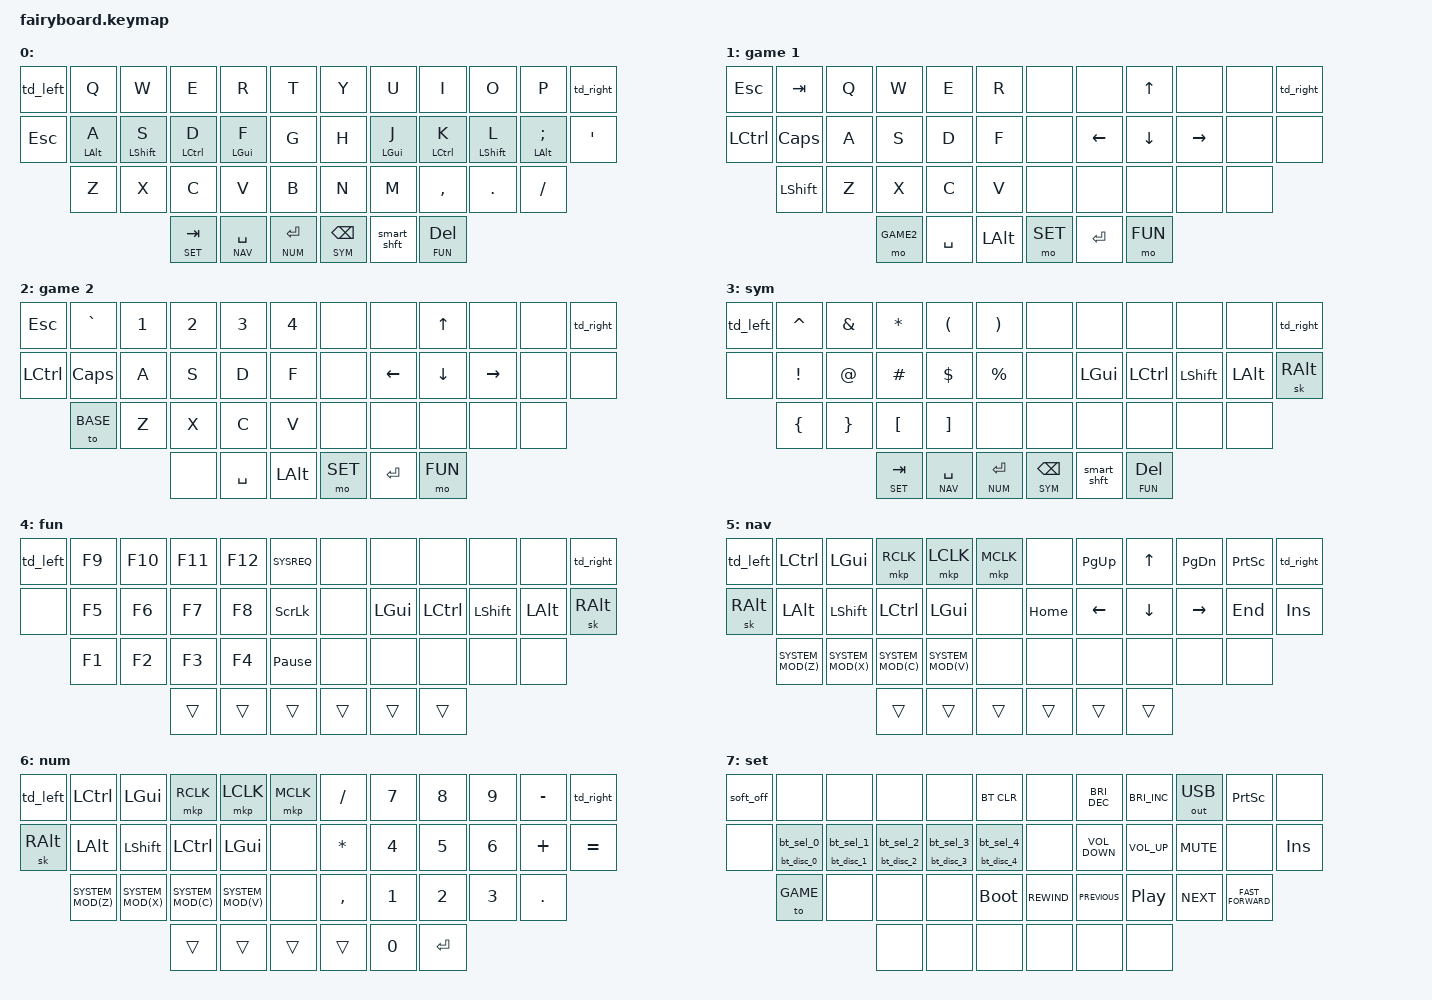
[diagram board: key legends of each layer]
// TODO: print screen, insert scroll lock and pause break move?
// TODO: zmk studio lock button
/*
 * Copyright (c) 2024 Steven Eisinger
 *
 * SPDX-License-Identifier: MIT
 */

// Required to be defined before the pointing dt-bindings import
#define ZMK_POINTING_DEFAULT_MOVE_VAL 1500
#define ZMK_POINTING_DEFAULT_SCRL_VAL 20

#include <behaviors/mouse_keys.dtsi>
#include <behaviors.dtsi>
#include <dt-bindings/zmk/bt.h>
#include <dt-bindings/zmk/keys.h>
#include <dt-bindings/zmk/pointing.h>
#include <dt-bindings/zmk/outputs.h>


//--------------------------------------------------------------------------------------------------
// Global defines

#define PHT_TAPPING_TERM_MS     280  // Positional hold tap tapping term (ms)
#define PHT_IDLE_MS             200  // Positional hold tap require idle time (ms)
#define LT_TAPPING_TERM_MS      200  // Layer tap tapping term (ms)
#define MOD_TOG_TAPPING_TERM_MS 200  // Mod tap tapping term (ms)
#define QUICK_TAP_MS            225  // Quick tap timing (ms)
#define SK_RELEASE_AFTER_MS     900  // Release sticky key after (ms)
#define COMBO_TERM_FAST_MS       25  // Fast combo term for horizontal combos (ms)
#define COMBO_TERM_SLOW_MS      100  // Slow combo term for vertical combos (ms)
#define COMBO_IDLE_FAST_MS       50  // Fast require prior idle time for horizontal combos (ms)
#define COMBO_IDLE_SLOW_MS      100  // Slow require prior idle time for vertical combos (ms)

#define NONE 0  // Null keypress


//--------------------------------------------------------------------------------------------------
// Layer definitions

#define BASE  0
#define GAME  1
#define GAME2 2
#define SYM   3
#define FUN   4
#define NAV   5
#define NUM   6
#define SET   7


//--------------------------------------------------------------------------------------------------
// Homerow mod (HRM) definitions

#define HRM_INDEX  LEFT_GUI
#define HRM_MIDDLE LEFT_CONTROL
#define HRM_RING   LEFT_SHIFT
#define HRM_PINKY  LEFT_ALT


//--------------------------------------------------------------------------------------------------
// Modifiers for the bottom row of the left side for easy 1-handed copy/cut/paste/undo
// If MAC_MODS is defined, then COMMAND will be used for these shortcuts instead of CONTROL

// #define MAC_MODS
#ifdef MAC_MODS
#define SYSTEM_MOD LG
#else
#define SYSTEM_MOD LC
#endif


//--------------------------------------------------------------------------------------------------
// Defaults reconfiguration

&lt {
    flavor = "balanced";
    tapping-term-ms = <LT_TAPPING_TERM_MS>;
    quick-tap-ms = <QUICK_TAP_MS>;
    hold-while-undecided;
};

&sk {
    release-after-ms = <SK_RELEASE_AFTER_MS>;
    quick-release;
};

&mmv {
    acceleration-exponent = <1>;
    time-to-max-speed-ms = <500>;
    delay-ms = <0>;
};

&msc {
    acceleration-exponent = <1>;
    time-to-max-speed-ms = <40>;
    delay-ms = <0>;
};


//--------------------------------------------------------------------------------------------------

/ {
    combos {
        compatible = "zmk,combos";

        // Vertical combos
        combo_n1 {
        bindings = <&kp N1>;
            key-positions = <1 13>;
            timeout-ms = <COMBO_TERM_SLOW_MS>;
            require-prior-idle-ms = <COMBO_IDLE_SLOW_MS>;
            layers = <BASE>;
        };

        combo_n2 {
            bindings = <&kp N2>;
            key-positions = <2 14>;
            timeout-ms = <COMBO_TERM_SLOW_MS>;
            require-prior-idle-ms = <COMBO_IDLE_SLOW_MS>;
            layers = <BASE>;
        };

        combo_n3 {
            bindings = <&kp N3>;
            key-positions = <3 15>;
            timeout-ms = <COMBO_TERM_SLOW_MS>;
            require-prior-idle-ms = <COMBO_IDLE_SLOW_MS>;
            layers = <BASE>;
        };

        combo_n4 {
            bindings = <&kp N4>;
            key-positions = <4 16>;
            timeout-ms = <COMBO_TERM_SLOW_MS>;
            require-prior-idle-ms = <COMBO_IDLE_SLOW_MS>;
            layers = <BASE>;
        };

        combo_n5 {
            bindings = <&kp N5>;
            key-positions = <5 17>;
            timeout-ms = <COMBO_TERM_SLOW_MS>;
            require-prior-idle-ms = <COMBO_IDLE_SLOW_MS>;
            layers = <BASE>;
        };

        combo_n6 {
            bindings = <&kp N6>;
            key-positions = <6 18>;
            timeout-ms = <COMBO_TERM_SLOW_MS>;
            require-prior-idle-ms = <COMBO_IDLE_SLOW_MS>;
            layers = <BASE>;
        };

        combo_n7 {
            bindings = <&kp N7>;
            key-positions = <7 19>;
            timeout-ms = <COMBO_TERM_SLOW_MS>;
            require-prior-idle-ms = <COMBO_IDLE_SLOW_MS>;
            layers = <BASE>;
        };

        combo_n8 {
            bindings = <&kp N8>;
            key-positions = <8 20>;
            timeout-ms = <COMBO_TERM_SLOW_MS>;
            require-prior-idle-ms = <COMBO_IDLE_SLOW_MS>;
            layers = <BASE>;
        };

        combo_n9 {
            bindings = <&kp N9>;
            key-positions = <9 21>;
            timeout-ms = <COMBO_TERM_SLOW_MS>;
            require-prior-idle-ms = <COMBO_IDLE_SLOW_MS>;
            layers = <BASE>;
        };

        combo_n0 {
            bindings = <&kp N0>;
            key-positions = <10 22>;
            timeout-ms = <COMBO_TERM_SLOW_MS>;
            require-prior-idle-ms = <COMBO_IDLE_SLOW_MS>;
            layers = <BASE>;
        };

        // Horizontal combos
        combo_plus {
            bindings = <&kp PLUS>;
            key-positions = <8 9>;
            timeout-ms = <COMBO_TERM_FAST_MS>;
            require-prior-idle-ms = <COMBO_IDLE_FAST_MS>;
            layers = <BASE>;
        };

        combo_minus {
            bindings = <&kp MINUS>;
            key-positions = <3 4>;
            timeout-ms = <COMBO_TERM_FAST_MS>;
            require-prior-idle-ms = <COMBO_IDLE_FAST_MS>;
            layers = <BASE>;
        };

        combo_underscore {
            bindings = <&kp UNDERSCORE>;
            key-positions = <2 3>;
            timeout-ms = <COMBO_TERM_FAST_MS>;
            require-prior-idle-ms = <COMBO_IDLE_FAST_MS>;
            layers = <BASE>;
        };

        combo_equal {
            bindings = <&kp EQUAL>;
            key-positions = <7 8>;
            timeout-ms = <COMBO_TERM_FAST_MS>;
            require-prior-idle-ms = <COMBO_IDLE_FAST_MS>;
            layers = <BASE>;
        };

        combo_tilde {
            bindings = <&kp TILDE>;
            key-positions = <25 26>;
            timeout-ms = <COMBO_TERM_FAST_MS>;
            require-prior-idle-ms = <COMBO_IDLE_FAST_MS>;
            layers = <BASE>;
        };

        combo_grave {
            bindings = <&kp GRAVE>;
            key-positions = <26 27>;
            timeout-ms = <COMBO_TERM_FAST_MS>;
            require-prior-idle-ms = <COMBO_IDLE_FAST_MS>;
            layers = <BASE>;
        };

        combo_backslash {
            bindings = <&kp BACKSLASH>;
            key-positions = <30 31>;
            timeout-ms = <COMBO_TERM_FAST_MS>;
            require-prior-idle-ms = <COMBO_IDLE_FAST_MS>;
            layers = <BASE>;
        };

        combo_pipe {
            bindings = <&kp PIPE>;
            key-positions = <31 32>;
            timeout-ms = <COMBO_TERM_FAST_MS>;
            require-prior-idle-ms = <COMBO_IDLE_FAST_MS>;
            layers = <BASE>;
        };
    };


//--------------------------------------------------------------------------------------------------

    macros {
        bt_sel_0: bt_sel_0 {
            compatible = "zmk,behavior-macro";
            #binding-cells = <0>;
            bindings = <&out OUT_BLE>, <&bt BT_SEL 0>;
        };

        bt_disc_0: bt_disc_0 {
            compatible = "zmk,behavior-macro";
            #binding-cells = <0>;
            bindings = <&bt BT_DISC 0>;
        };

        bt_sel_1: bt_sel_1 {
            compatible = "zmk,behavior-macro";
            #binding-cells = <0>;
            bindings = <&out OUT_BLE>, <&bt BT_SEL 1>;
        };

        bt_disc_1: bt_disc_1 {
            compatible = "zmk,behavior-macro";
            #binding-cells = <0>;
            bindings = <&bt BT_DISC 1>;
        };

        bt_sel_2: bt_sel_2 {
            compatible = "zmk,behavior-macro";
            #binding-cells = <0>;
            bindings = <&out OUT_BLE>, <&bt BT_SEL 2>;
        };

        bt_disc_2: bt_disc_2 {
            compatible = "zmk,behavior-macro";
            #binding-cells = <0>;
            bindings = <&bt BT_DISC 2>;
        };

        bt_sel_3: bt_sel_3 {
            compatible = "zmk,behavior-macro";
            #binding-cells = <0>;
            bindings = <&out OUT_BLE>, <&bt BT_SEL 3>;
        };

        bt_disc_3: bt_disc_3 {
            compatible = "zmk,behavior-macro";
            #binding-cells = <0>;
            bindings = <&bt BT_DISC 3>;
        };

        bt_sel_4: bt_sel_4 {
            compatible = "zmk,behavior-macro";
            #binding-cells = <0>;
            bindings = <&out OUT_BLE>, <&bt BT_SEL 4>;
        };

        bt_disc_4: bt_disc_4 {
            compatible = "zmk,behavior-macro";
            #binding-cells = <0>;
            bindings = <&bt BT_DISC 4>;
        };
    };


//--------------------------------------------------------------------------------------------------

    behaviors {
        pht_left: pht_left {  // Positional hold tap left
            compatible = "zmk,behavior-hold-tap";
            #binding-cells = <2>;
            bindings = <&kp>, <&kp>;
            flavor = "balanced";
            tapping-term-ms = <PHT_TAPPING_TERM_MS>;
            quick-tap-ms = <QUICK_TAP_MS>;
            require-prior-idle-ms = <PHT_IDLE_MS>;
            hold-trigger-key-positions = <6 7 8 9 10 11 18 19 20 21 22 23 29 30 31 32 33 34 35 36 37 38 39>;
            hold-trigger-on-release;
        };

        pht_right: pht_right {  // Positional hold tap right
            compatible = "zmk,behavior-hold-tap";
            #binding-cells = <2>;
            bindings = <&kp>, <&kp>;
            flavor = "balanced";
            tapping-term-ms = <PHT_TAPPING_TERM_MS>;
            quick-tap-ms = <QUICK_TAP_MS>;
            require-prior-idle-ms = <PHT_IDLE_MS>;
            hold-trigger-key-positions = <0 1 2 3 4 5 12 13 14 15 16 17 24 25 26 27 28 34 35 36 37 38 39>;
            hold-trigger-on-release;
        };

        to_hold: to_hold {  // Layer on hold
            compatible = "zmk,behavior-hold-tap";
            #binding-cells = <2>;
            bindings = <&to>, <&to>;
            tapping-term-ms = <LT_TAPPING_TERM_MS>;
        };

        smart_shft: smart_shift {  // Sticky shift on tap, caps lock on double tap, shift on hold
            compatible = "zmk,behavior-mod-morph";
            #binding-cells = <0>;
            bindings = <&sk LEFT_SHIFT>, <&kp CAPSLOCK>;
            mods = <(MOD_LSFT)>;
        };

        td_right: tap_dance_right_side {  // Tap dance to allow for using right side layers with one hand
            compatible = "zmk,behavior-tap-dance";
            #binding-cells = <0>;
            tapping-term-ms = <LT_TAPPING_TERM_MS>;
            bindings = <&to BASE>, <&to NAV>, <&to NUM>;
        };

        td_left: tap_dance_left_side {  // Tap dance to allow for using right side layers with one hand
            compatible = "zmk,behavior-tap-dance";
            #binding-cells = <0>;
            tapping-term-ms = <LT_TAPPING_TERM_MS>;
            bindings = <&to BASE>, <&to SYM>, <&to FUN>;
        };

        bt_hold_0: bt_hold_0 {  // Disconnect on hold, connect on tap
            compatible = "zmk,behavior-hold-tap";
            #binding-cells = <2>;
            bindings = <&bt_disc_0>, <&bt_sel_0>;
            tapping-term-ms = <LT_TAPPING_TERM_MS>;
        };

        bt_hold_1: bt_hold_1 {
            compatible = "zmk,behavior-hold-tap";
            #binding-cells = <2>;
            bindings = <&bt_disc_1>, <&bt_sel_1>;
            tapping-term-ms = <LT_TAPPING_TERM_MS>;
        };

        bt_hold_2: bt_hold_2 {
            compatible = "zmk,behavior-hold-tap";
            #binding-cells = <2>;
            bindings = <&bt_disc_2>, <&bt_sel_2>;
            tapping-term-ms = <LT_TAPPING_TERM_MS>;
        };

        bt_hold_3: bt_hold_3 {
            compatible = "zmk,behavior-hold-tap";
            #binding-cells = <2>;
            bindings = <&bt_disc_3>, <&bt_sel_3>;
            tapping-term-ms = <LT_TAPPING_TERM_MS>;
        };

        bt_hold_4: bt_hold_4 {
            compatible = "zmk,behavior-hold-tap";
            #binding-cells = <2>;
            bindings = <&bt_disc_4>, <&bt_sel_4>;
            tapping-term-ms = <LT_TAPPING_TERM_MS>;
        };
    };


//--------------------------------------------------------------------------------------------------

    keymap {
        compatible = "zmk,keymap";

        base_layer {
            display-name = " ";
            bindings = <
&td_left    &kp Q                  &kp W                 &kp E                   &kp R                  &kp T          &kp Y              &kp U                   &kp I                    &kp O                  &kp P                      &td_right
&kp ESCAPE  &pht_left HRM_PINKY A  &pht_left HRM_RING S  &pht_left HRM_MIDDLE D  &pht_left HRM_INDEX F  &kp G          &kp H              &pht_right HRM_INDEX J  &pht_right HRM_MIDDLE K  &pht_right HRM_RING L  &pht_right HRM_PINKY SEMI  &kp SINGLE_QUOTE
            &kp Z                  &kp X                 &kp C                   &kp V                  &kp B          &kp N              &kp M                   &kp COMMA                &kp DOT                &kp SLASH
                                                         &lt SET TAB             &lt NAV SPACE          &lt NUM ENTER  &lt SYM BACKSPACE  &smart_shft             &lt FUN DELETE
            >;
        };

        game_layer {
            display-name = "game 1";
            bindings = <
&kp ESCAPE        &kp TAB         &kp Q   &kp W      &kp E      &kp R         &none    &none      &kp UP    &none      &none  &td_right
&kp LEFT_CONTROL  &kp CAPSLOCK    &kp A   &kp S      &kp D      &kp F         &none    &kp LEFT   &kp DOWN  &kp RIGHT  &none  &none
                  &kp LEFT_SHIFT  &kp Z   &kp X      &kp C      &kp V         &none    &none      &none     &none      &none
                                          &mo GAME2  &kp SPACE  &kp LEFT_ALT  &mo SET  &kp ENTER  &mo FUN
            >;
        };

        game2_layer {
            display-name = "game 2";
            bindings = <
&kp ESCAPE        &kp GRAVE       &kp N1  &kp N2  &kp N3     &kp N4        &none    &none      &kp UP    &none      &none  &td_right
&kp LEFT_CONTROL  &kp CAPSLOCK    &kp A   &kp S   &kp D      &kp F         &none    &kp LEFT   &kp DOWN  &kp RIGHT  &none  &none
                  &to BASE        &kp Z   &kp X   &kp C      &kp V         &none    &none      &none     &none      &none
                                          &none   &kp SPACE  &kp LEFT_ALT  &mo SET  &kp ENTER  &mo FUN
            >;
        };

        sym_layer {
            display-name = "sym";
            bindings = <
&td_left  &kp CARET        &kp AMPERSAND    &kp ASTERISK      &kp LEFT_PARENTHESIS   &kp RIGHT_PARENTHESIS  &none              &none          &none           &none         &none          &td_right
&none     &kp EXCLAMATION  &kp AT_SIGN      &kp HASH          &kp DOLLAR             &kp PERCENT            &none              &kp HRM_INDEX  &kp HRM_MIDDLE  &kp HRM_RING  &kp HRM_PINKY  &sk RIGHT_ALT
          &kp LEFT_BRACE   &kp RIGHT_BRACE  &kp LEFT_BRACKET  &kp RIGHT_BRACKET      &none                  &none              &none          &none           &none         &none
                                            &lt SET TAB       &lt NAV SPACE          &lt NUM ENTER          &lt SYM BACKSPACE  &smart_shft    &lt FUN DELETE
            >;
        };

        fun_layer {
            display-name = "fun";
            bindings = <
&td_left  &kp F9  &kp F10  &kp F11  &kp F12  &kp SYSREQ       &none   &none          &none           &none         &none          &td_right
&none     &kp F5  &kp F6   &kp F7   &kp F8   &kp SCROLLLOCK   &none   &kp HRM_INDEX  &kp HRM_MIDDLE  &kp HRM_RING  &kp HRM_PINKY  &sk RIGHT_ALT
          &kp F1  &kp F2   &kp F3   &kp F4   &kp PAUSE_BREAK  &none   &none          &none           &none         &none
                           &trans   &trans   &trans           &trans  &trans         &trans
            >;
        };

        nav_layer {
            display-name = "nav";
            bindings = <
&td_left       &kp HRM_MIDDLE     &kp HRM_INDEX      &mkp RCLK          &mkp LCLK          &mkp MCLK  &none     &kp PAGE_UP  &kp UP     &kp PAGE_DOWN  &kp PRINTSCREEN  &td_right
&sk RIGHT_ALT  &kp HRM_PINKY      &kp HRM_RING       &kp HRM_MIDDLE     &kp HRM_INDEX      &none      &kp HOME  &kp LEFT     &kp DOWN   &kp RIGHT      &kp END          &kp INSERT
               &kp SYSTEM_MOD(Z)  &kp SYSTEM_MOD(X)  &kp SYSTEM_MOD(C)  &kp SYSTEM_MOD(V)  &none      &none     &none        &none      &none          &none
                                                     &trans             &trans             &trans     &trans    &trans       &trans
            >;
        };

        num_layer {
            display-name = "num";
            bindings = <
&td_left         &kp HRM_MIDDLE     &kp HRM_INDEX      &mkp RCLK          &mkp LCLK          &mkp MCLK  &kp SLASH     &kp N7  &kp N8  &kp N9  &kp MINUS   &td_right
&sk RIGHT_ALT    &kp HRM_PINKY      &kp HRM_RING       &kp HRM_MIDDLE     &kp HRM_INDEX      &none      &kp ASTERISK  &kp N4  &kp N5  &kp N6  &kp PLUS    &kp EQUAL
                 &kp SYSTEM_MOD(Z)  &kp SYSTEM_MOD(X)  &kp SYSTEM_MOD(C)  &kp SYSTEM_MOD(V)  &none      &kp COMMA     &kp N1  &kp N2  &kp N3  &kp PERIOD
                                                       &trans             &trans             &trans     &trans        &kp N0  &kp ENTER
            >;
        };

        set_layer {
            display-name = "set";
            bindings = <
&soft_off  &none           &none           &none           &none           &bt BT_CLR      &none         &kp C_BRIGHTNESS_DEC  &kp C_BRIGHTNESS_INC  &out OUT_USB  &kp PRINTSCREEN     &none
&none      &bt_hold_0 0 0  &bt_hold_1 0 0  &bt_hold_2 0 0  &bt_hold_3 0 0  &bt_hold_4 0 0  &none         &kp C_VOLUME_DOWN     &kp C_VOLUME_UP       &kp C_MUTE    &none               &kp INSERT
           &to GAME        &none           &none           &none           &bootloader     &kp C_REWIND  &kp C_PREVIOUS        &kp C_PLAY_PAUSE      &kp C_NEXT    &kp C_FAST_FORWARD
                                           &none           &none           &none           &none         &none                 &none
            >;
        };
    };
};
